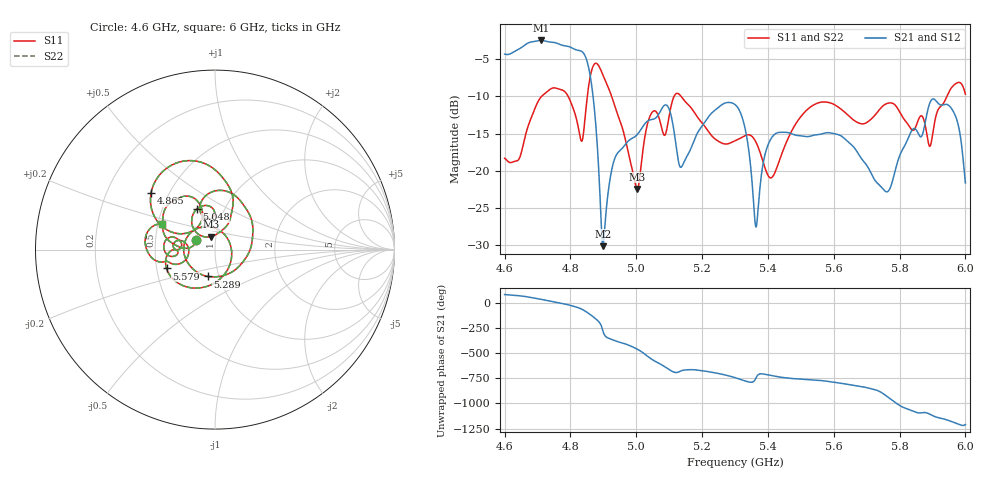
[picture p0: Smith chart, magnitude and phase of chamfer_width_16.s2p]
! TOUCHSTONE file generated by CST MICROWAVE STUDIO
! Date and time: Sat Nov 30 03:28:50 2024
! Project name: test_tuning.cst
! Parameters = {airCoaxOuterDiameter=3; chamferAngle=45; chamferWidth=32; connectorLength=10; drillingHoleDiameter=4.1; feedLength=60; flareDiameter=130; flareLength=70; gratingDistance=0; gratingGap=1.90274; outletLength=30; polarizerLength=134; probe1Diameter=1.3; probe1Distance=14; probe1Length=1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
! Header version: 2024
! Port assignment regex: !\s*Touchstone port\s*([0-9]+)\s*=\s*(CST MWS port|CST DES external port|CST DES block port)\s*(.+)\s* \(\"(.*)\"\)(\s*mode\s*([0-9]+))?.*
! Touchstone port assignment:
! Touchstone port 1 = CST MWS port 1 ("Input1")
! Touchstone port 2 = CST MWS port 2 ("Input2")
# GHz S MA R 50
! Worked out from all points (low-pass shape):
!   1001 points, 4.6 GHz to 6 GHz, reference 50 ohm
!   highest |S21| = -2.46 dB at 4.711 GHz (marker M1); lowest = -30.1 dB at 4.898 GHz (marker M2)
!   |S21| within 3 dB of the highest: start of sweep to 4.852 GHz
!   lowest |S11| = -22.5 dB at 5.003 GHz (marker M3), VSWR 1.16, Z = 47.5 + j6.92 ohm
!   |S11| at or under -10 dB: start of sweep to 4.712 GHz; 4.925 GHz to 5.115 GHz (189.4 MHz wide, 3.77 % of centre); 5.136 GHz to 5.944 GHz (807.2 MHz wide, 14.6 % of centre)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
!   |S22| runs from -22.5 to -5.5 dB; largest |S21 - S12| = 1.9e-06
!   S11 on the Smith chart (normalised r, x): 4.6 GHz: 0.80, +0.09; 4.865 GHz: 0.40, +0.32; 5.048 GHz: 0.74, +0.36; 5.289 GHz: 0.88, -0.27; 5.579 GHz: 0.56, -0.13; 6 GHz: 0.53, +0.17
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4.6  0.1214 153.1  0.6097 78.9  0.6097 78.9  0.1214 153.1
4.7106  0.3135 158.4  0.7532 31.7  0.7532 31.7  0.3135 158.4
4.7848  0.3374 117.9  0.6926 -16.0  0.6926 -16.0  0.3374 117.9
4.8338  0.158 130.5  0.6367 -65.3  0.6367 -65.3  0.158 130.5
4.8646  0.4751 138.6  0.3749 -130.4  0.3749 -130.4  0.4751 138.6
4.8982  0.4435 89.8  0.03111 82.5  0.03111 82.5  0.4435 89.8
4.9346  0.2735 68.4  0.121 -18.0  0.121 -18.0  0.2735 68.4
5.0032  0.07534 105.9  0.1754 -103.2  0.1754 -103.2  0.07534 105.9
5.048  0.2472 114.5  0.2215 154.5  0.2215 154.5  0.2472 114.5
5.0676  0.2327 93.8  0.2392 119.1  0.2392 119.1  0.2327 93.8
5.1376  0.3138 65.9  0.1063 43.7  0.1063 43.7  0.3138 65.9
5.2888  0.155 -105.6  0.287 -14.5  0.287 -14.5  0.155 -105.6
5.3  0.1593 -122.4  0.2792 -25.1  0.2792 -25.1  0.1593 -122.4
5.3336  0.1736 -171.8  0.1791 -61.2  0.1791 -61.2  0.1736 -171.8
5.3644  0.1548 131.4  0.04183 -24.4  0.04183 -24.4  0.1548 131.4
5.412  0.09023 7.4  0.1678 -5.4  0.1678 -5.4  0.09023 7.4
5.5338  0.273 -134.5  0.1722 -46.5  0.1722 -46.5  0.273 -134.5
5.5786  0.2898 -158.8  0.1804 -60.8  0.1804 -60.8  0.2898 -158.8
5.7676  0.2859 177.3  0.07379 134.4  0.07379 134.4  0.2859 177.3
5.902  0.1852 -159.2  0.3044 -44.0  0.3044 -44.0  0.1852 -159.2
5.9678  0.3817 179.5  0.2398 -112.6  0.2398 -112.6  0.3817 179.5
6  0.3279 154.0  0.0829 -131.1  0.0829 -131.1  0.3279 154.0
